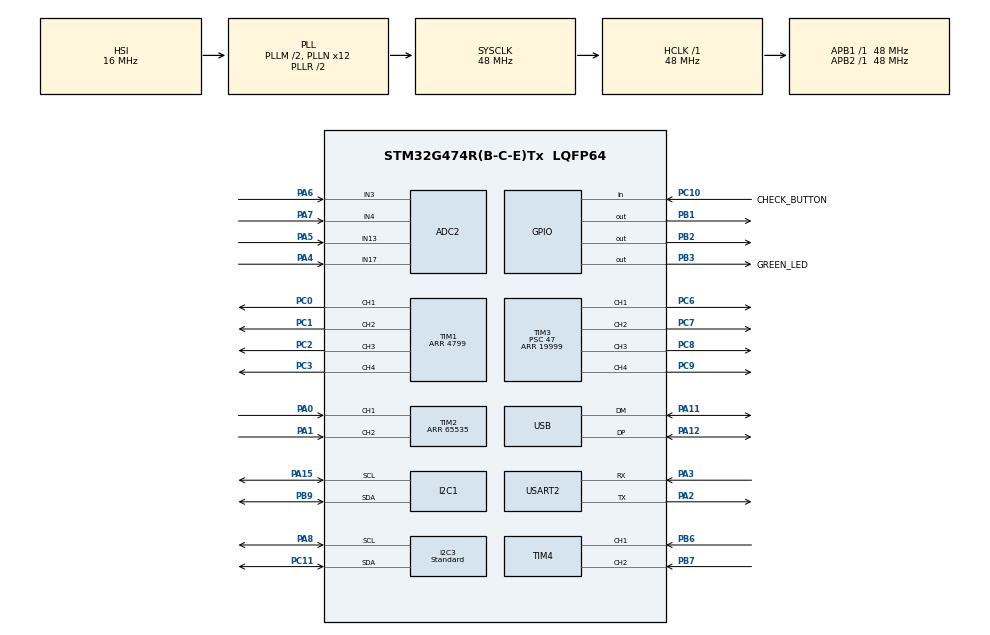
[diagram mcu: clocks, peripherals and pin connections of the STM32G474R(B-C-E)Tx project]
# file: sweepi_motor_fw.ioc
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ADC2.Channel-0\#ChannelRegularConversion=ADC_CHANNEL_17
ADC2.NbrOfConversionFlag=1
ADC2.OffsetNumber-0\#ChannelRegularConversion=ADC_OFFSET_NONE
ADC2.Rank-0\#ChannelRegularConversion=1
ADC2.SamplingTime-0\#ChannelRegularConversion=ADC_SAMPLETIME_2CYCLES_5
I2C1.Timing=0x10805D88
I2C3.I2C_Speed_Mode=I2C_Standard
I2C3.Timing=0x10805D88
Mcu.Family=STM32G4
Mcu.Name=STM32G474R(B-C-E)Tx
Mcu.Package=LQFP64
NVIC.PriorityGroup=NVIC_PRIORITYGROUP_4
NVIC.USART2_IRQn=true\:0\:0\:false\:false\:true\:true\:true\:true
NVIC.USB_LP_IRQn=true\:0\:0\:false\:false\:true\:false\:true\:true
PA0.Signal=S_TIM2_CH1
PA1.Signal=S_TIM2_CH2
PA11.Mode=Device
PA11.Signal=USB_DM
PA12.Mode=Device
PA12.Signal=USB_DP
PA13.Mode=Serial_Wire
PA13.Signal=SYS_JTMS-SWDIO
PA14.Mode=Serial_Wire
PA14.Signal=SYS_JTCK-SWCLK
PA15.Mode=I2C
PA15.Signal=I2C1_SCL
PA2.Mode=Asynchronous
PA2.Signal=USART2_TX
PA3.Mode=Asynchronous
PA3.Signal=USART2_RX
PA4.Mode=IN17-Single-Ended
PA4.Signal=ADC2_IN17
PA5.Mode=IN13-Single-Ended
PA5.Signal=ADC2_IN13
PA6.Mode=IN3-Single-Ended
PA6.Signal=ADC2_IN3
PA7.Mode=IN4-Single-Ended
PA7.Signal=ADC2_IN4
PA8.Mode=I2C
PA8.Signal=I2C3_SCL
PB1.Signal=GPIO_Output
PB2.Signal=GPIO_Output
PB3.GPIO_Label=GREEN_LED
PB3.Signal=GPIO_Output
PB6.Signal=S_TIM4_CH1
PB7.Signal=S_TIM4_CH2
PB9.Mode=I2C
PB9.Signal=I2C1_SDA
PC0.Signal=S_TIM1_CH1
PC1.Signal=S_TIM1_CH2
PC10.GPIO_Label=CHECK_BUTTON
PC10.Signal=GPIO_Input
PC11.Mode=I2C
PC11.Signal=I2C3_SDA
PC2.Signal=S_TIM1_CH3
PC3.Signal=S_TIM1_CH4
PC6.Signal=S_TIM3_CH1
PC7.Signal=S_TIM3_CH2
PC8.Signal=S_TIM3_CH3
PC9.Signal=S_TIM3_CH4
ProjectManager.HeapSize=0x200
ProjectManager.StackSize=0x400
ProjectManager.TargetToolchain=CMake
RCC.ADC12Freq_Value=48000000
RCC.ADC345Freq_Value=48000000
RCC.AHBFreq_Value=48000000
RCC.APB1Freq_Value=48000000
RCC.APB1TimFreq_Value=48000000
RCC.APB2Freq_Value=48000000
RCC.APB2TimFreq_Value=48000000
RCC.CortexFreq_Value=48000000
RCC.EXTERNAL_CLOCK_VALUE=12288000
RCC.HCLKFreq_Value=48000000
RCC.HSE_VALUE=24000000
RCC.HSI48_VALUE=48000000
RCC.HSI_VALUE=16000000
RCC.LSE_VALUE=32768
RCC.PLLM=RCC_PLLM_DIV2
RCC.PLLN=12
RCC.SYSCLKFreq_VALUE=48000000
RCC.SYSCLKSource=RCC_SYSCLKSOURCE_PLLCLK
RCC.USBFreq_Value=48000000
RCC.VCOOutputFreq_Value=96000000
SH.S_TIM1_CH1.0=TIM1_CH1,PWM Generation1 CH1
SH.S_TIM1_CH2.0=TIM1_CH2,PWM Generation2 CH2
SH.S_TIM1_CH3.0=TIM1_CH3,PWM Generation3 CH3
SH.S_TIM1_CH4.0=TIM1_CH4,PWM Generation4 CH4
SH.S_TIM2_CH1.0=TIM2_CH1,Encoder_Interface
SH.S_TIM2_CH2.0=TIM2_CH2,Encoder_Interface
SH.S_TIM3_CH1.0=TIM3_CH1,PWM Generation1 CH1
SH.S_TIM3_CH2.0=TIM3_CH2,PWM Generation2 CH2
SH.S_TIM3_CH3.0=TIM3_CH3,PWM Generation3 CH3
SH.S_TIM3_CH4.0=TIM3_CH4,PWM Generation4 CH4
SH.S_TIM4_CH1.0=TIM4_CH1,Encoder_Interface
SH.S_TIM4_CH2.0=TIM4_CH2,Encoder_Interface
TIM1.Channel-PWM\ Generation1\ CH1=TIM_CHANNEL_1
TIM1.Channel-PWM\ Generation2\ CH2=TIM_CHANNEL_2
TIM1.Channel-PWM\ Generation3\ CH3=TIM_CHANNEL_3
TIM1.Channel-PWM\ Generation4\ CH4=TIM_CHANNEL_4
TIM1.PeriodNoDither=4799
TIM2.EncoderMode=TIM_ENCODERMODE_TI12
TIM2.PeriodNoDither=65535
TIM3.Channel-PWM\ Generation1\ CH1=TIM_CHANNEL_1
TIM3.Channel-PWM\ Generation2\ CH2=TIM_CHANNEL_2
TIM3.Channel-PWM\ Generation3\ CH3=TIM_CHANNEL_3
TIM3.Channel-PWM\ Generation4\ CH4=TIM_CHANNEL_4
TIM3.PeriodNoDither=19999
TIM3.Prescaler=47
TIM4.EncoderMode=TIM_ENCODERMODE_TI12
USART2.VirtualMode-Asynchronous=VM_ASYNC
USB_DEVICE.CLASS_NAME_FS=CDC
USB_DEVICE.VirtualMode=Cdc
USB_DEVICE.VirtualModeFS=Cdc_FS
VP_SYS_VS_DBSignals.Mode=DisableDeadBatterySignals
VP_USB_DEVICE_VS_USB_DEVICE_CDC_FS.Mode=CDC_FS
board=custom

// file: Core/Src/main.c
/* USER CODE BEGIN Header */
/**
  ******************************************************************************
  * @file           : main.c
  * @brief          : Main program body
  ******************************************************************************
  * @attention
  *
  * Copyright (c) 2026 STMicroelectronics.
  * All rights reserved.
  *
  * This software is licensed under terms that can be found in the LICENSE file
  * in the root directory of this software component.
  * If no LICENSE file comes with this software, it is provided AS-IS.
  *
  ******************************************************************************
  */
/* USER CODE END Header */
#include "main.h"
#include "adc.h"
#include "i2c.h"
#include "tim.h"
#include "usart.h"
#include "usb_device.h"
#include "gpio.h"

/* USER CODE BEGIN Includes */
#include <string.h>
#include <stdio.h>
#include <math.h>

/* USER CODE END Includes */

/* USER CODE BEGIN PD */
#define PI 3.14159265f
#define WHEEL_RADIUS_M 0.03075f // assume 3.075cm radius wheels, adjust as necessary
#define WHEEL_BASE_M 0.29f // assume 29cm distance between wheels, adjust as necessary
#define MOTOR_TEST_ENABLE 0
#define MOTOR_TEST_LEFT_RPM 15.0f
#define MOTOR_TEST_RIGHT_RPM 15.0f
#define LEFT_ENCODER_SIGN -1
#define RIGHT_ENCODER_SIGN 1
#define ENCODER_TICKS_PER_REV 7392.0f
#define PWM_MAX_COUNT 4799.0f
#define CONTROL_LOOP_MS 20U
#define CONTROL_LOOP_SEC ((float)CONTROL_LOOP_MS / 1000.0f)
#define COMMAND_TIMEOUT_MS 500U
#define GYRO_DPS_TO_RAD_PER_SEC (PI / 180.0f)
#define MPU6050_REG_SMPLRT_DIV 0x19U
#define MPU6050_REG_CONFIG 0x1AU
#define MPU6050_REG_GYRO_CONFIG 0x1BU
#define MPU6050_REG_ACCEL_CONFIG 0x1CU
#define MPU6050_REG_INT_ENABLE 0x38U
#define MPU6050_REG_PWR_MGMT_1 0x6BU
#define IMU_CALIBRATION_SAMPLES 1000U
#define IMU_STATIONARY_GYRO_RAD_S 0.035f
#define IMU_STATIONARY_ACCEL_MIN 8.8f
#define IMU_STATIONARY_ACCEL_MAX 10.8f
#define IMU_Z_BIAS_ADAPT_ALPHA 0.001f
#define LEFT_SERVO_CHANNEL TIM_CHANNEL_1
#define RIGHT_SERVO_CHANNEL TIM_CHANNEL_3
#define SERVO_NEUTRAL_US 1500U
#define SERVO_LEFT_RELEASE_US 1650U
#define SERVO_LEFT_TIGHTEN_US 1350U
#define SERVO_RIGHT_RELEASE_US 1650U
#define SERVO_RIGHT_TIGHTEN_US 1350U
#define SERVO_STEP_US 10U     // Step size in microseconds for each control loop iteration
#define SERVO_HOLD_MS 300U   // Hold time in milliseconds at each extreme position
#define SERVO_CYCLES 3U      // Number of complete left-right cycles to perform when triggered
/* USER CODE END PD */

/* USER CODE BEGIN PV */
uint8_t mpu6050_address = 0;
uint8_t mpu6050_ready = 0;

// --- IMU RAW VARIABLES ---
int16_t raw_acc_x = 0, raw_acc_y = 0, raw_acc_z = 0;
int16_t raw_gyro_x = 0, raw_gyro_y = 0, raw_gyro_z = 0;

// --- IMU CALIBRATION VARIABLES (Gyros Only!) ---
float gyro_x_offset = 0.0f, gyro_y_offset = 0.0f, gyro_z_offset = 0.0f;
float gyro_z_runtime_bias = 0.0f;

// --- ASCII COMMUNICATION PROTOCOL ---
char rx_line_buffer[128]; // Holds the incoming string
volatile uint8_t rx_byte;          // Holds a single character
volatile uint8_t rx_index = 0;
volatile uint8_t new_cmd_ready = 0;
char tx_buffer[256];      // Holds the outgoing FB string

// Command Variables from Pi
uint32_t cmd_seq = 0;
uint32_t fb_seq = 0;
uint32_t last_valid_cmd_ms = 0;
float cmd_left_vel = 0.0f;
float cmd_right_vel = 0.0f;
uint8_t motor_enable = 0;

// --- ENCODERS ---
uint16_t current_ticks_L = 0, previous_ticks_L = 0;
int16_t tick_diff_L = 0;
float current_rpm_L = 0.0f;

uint16_t current_ticks_R = 0, previous_ticks_R = 0;
int16_t tick_diff_R = 0;
float current_rpm_R = 0.0f;

// --- PID CONTROLLERS ---
typedef struct {
    float Kp; float Ki; float Kd;
    float setpoint; float integral; float prev_error;
} PID_Controller;

typedef enum {
    SERVO_IDLE = 0,
    SERVO_MOVE_LEFT,
    SERVO_HOLD_LEFT,
    SERVO_CENTER_AFTER_LEFT,
    SERVO_HOLD_CENTER_AFTER_LEFT,
    SERVO_MOVE_RIGHT,
    SERVO_HOLD_RIGHT,
    SERVO_CENTER_AFTER_RIGHT,
    SERVO_HOLD_CENTER_AFTER_RIGHT
} TubeServoState;

PID_Controller leftPID  = {25.0f, 0.5f, 0.0f, 0.0f, 0.0f, 0.0f};
PID_Controller rightPID = {25.0f, 0.5f, 0.0f, 0.0f, 0.0f, 0.0f};

float current_pwm_L = 0.0f;
float current_pwm_R = 0.0f;

uint32_t left_servo_pulse = SERVO_NEUTRAL_US;
uint32_t right_servo_pulse = SERVO_NEUTRAL_US;
TubeServoState tube_servo_state = SERVO_IDLE;
uint8_t tube_servo_cycle_count = 0;
uint32_t tube_servo_hold_start_ms = 0;
uint8_t tube_trigger_latched = 0;
/* USER CODE END PV */

void SystemClock_Config(void);
/* USER CODE BEGIN PFP */
float PID_Compute(PID_Controller *pid, float current_rpm, float dt_sec);
void UInt64ToDec(uint64_t value, char *buffer, size_t buffer_size);
void TubeServo_Set(uint32_t left_pulse, uint32_t right_pulse);
uint32_t TubeServo_StepToward(uint32_t current, uint32_t target);
uint8_t TubeServo_MoveToward(uint32_t target_left, uint32_t target_right);
void TubeServo_StartCycle(void);
void TubeServo_Update(uint32_t now_ms);
uint8_t ModeEquals(const char *mode, const char *expected);
/* USER CODE END PFP */

int main(void)
{

  /* MCU Configuration--------------------------------------------------------*/

  /* Reset of all peripherals, Initializes the Flash interface and the Systick. */
  HAL_Init();

  /* Configure the system clock */
  SystemClock_Config();

  /* Initialize all configured peripherals */
  MX_GPIO_Init();
  MX_I2C1_Init();
  MX_I2C3_Init();
  MX_TIM1_Init();
  MX_TIM2_Init();
  MX_TIM3_Init();
  MX_TIM4_Init();
  MX_USART2_UART_Init();
  MX_USB_Device_Init();
  MX_ADC2_Init();

  /* USER CODE BEGIN 2 */
  // --- Left Motor PWM (Channels 3 & 4) ---
  __HAL_TIM_SET_COMPARE(&htim1, TIM_CHANNEL_3, 0);
  __HAL_TIM_SET_COMPARE(&htim1, TIM_CHANNEL_4, 0);
  HAL_TIM_PWM_Start(&htim1, TIM_CHANNEL_3);
  HAL_TIM_PWM_Start(&htim1, TIM_CHANNEL_4);

  // --- Right Motor PWM (Channels 1 & 2) ---
  __HAL_TIM_SET_COMPARE(&htim1, TIM_CHANNEL_1, 0);
  __HAL_TIM_SET_COMPARE(&htim1, TIM_CHANNEL_2, 0);
  HAL_TIM_PWM_Start(&htim1, TIM_CHANNEL_1);
  HAL_TIM_PWM_Start(&htim1, TIM_CHANNEL_2);

  // --- Tube servos on TIM3 (PC6 = left, PC8 = right) ---
  TubeServo_Set(SERVO_NEUTRAL_US, SERVO_NEUTRAL_US);
  HAL_TIM_PWM_Start(&htim3, LEFT_SERVO_CHANNEL);
  HAL_TIM_PWM_Start(&htim3, RIGHT_SERVO_CHANNEL);

  // Enable Master Output and the Motor Driver Chip
  __HAL_TIM_MOE_ENABLE(&htim1);
  HAL_GPIO_WritePin(GPIOB, GPIO_PIN_1|GPIO_PIN_2, GPIO_PIN_SET);

  // --- Start Both Hardware Encoders ---
  HAL_TIM_Encoder_Start(&htim2, TIM_CHANNEL_ALL); // Left
  HAL_TIM_Encoder_Start(&htim4, TIM_CHANNEL_ALL); // Right

  // Start listening on USART2 for the first character
  HAL_UART_Receive_IT(&huart2, (uint8_t *)&rx_byte, 1);

  // Standalone power-up marker for serial/debug checks.
  HAL_UART_Transmit(&huart2, (uint8_t *)"BOOT\r\n", 6, 100);

  // --- Step 1: I2C Sanity Check Scanner ---
  HAL_StatusTypeDef result;

  for (uint8_t i = 1; i < 128; i++)
  {
      result = HAL_I2C_IsDeviceReady(&hi2c3, (uint16_t)(i << 1), 2, 10);

      if (result == HAL_OK)
      {
          if ((i == 0x68) || (i == 0x69))
          {
              mpu6050_address = i;
              break;
          }
      }
  }

  // --- Step 2: Wake and configure the MPU6050 ---
  if (mpu6050_address != 0)
  {
      uint8_t data = 0x00;
      if (HAL_I2C_Mem_Write(&hi2c3, (uint16_t)(mpu6050_address << 1), MPU6050_REG_PWR_MGMT_1, 1, &data, 1, 10) == HAL_OK)
      {
          HAL_Delay(100);

          data = 0x07; // 125 Hz sample rate when DLPF is enabled.
          if (HAL_I2C_Mem_Write(&hi2c3, (uint16_t)(mpu6050_address << 1), MPU6050_REG_SMPLRT_DIV, 1, &data, 1, 10) == HAL_OK)
          {
              data = 0x03; // DLPF enabled, about 44 Hz gyro bandwidth.
              if (HAL_I2C_Mem_Write(&hi2c3, (uint16_t)(mpu6050_address << 1), MPU6050_REG_CONFIG, 1, &data, 1, 10) == HAL_OK)
              {
                  data = 0x00; // Gyro +/-250 deg/s -> 131 LSB/(deg/s).
                  if (HAL_I2C_Mem_Write(&hi2c3, (uint16_t)(mpu6050_address << 1), MPU6050_REG_GYRO_CONFIG, 1, &data, 1, 10) == HAL_OK)
                  {
                      data = 0x00; // Accel +/-2 g -> 16384 LSB/g.
                      if (HAL_I2C_Mem_Write(&hi2c3, (uint16_t)(mpu6050_address << 1), MPU6050_REG_ACCEL_CONFIG, 1, &data, 1, 10) == HAL_OK)
                      {
                          data = 0x00; // Interrupt output disabled; STM32 polls over I2C.
                          if (HAL_I2C_Mem_Write(&hi2c3, (uint16_t)(mpu6050_address << 1), MPU6050_REG_INT_ENABLE, 1, &data, 1, 10) == HAL_OK)
                          {
                              mpu6050_ready = 1;
                          }
                      }
                  }
              }
          }
      }
  }

  // --- Step 3: Let the configured MPU settle, then calibrate gyroscopes ---
  // DO NOT MOVE THE ROBOT DURING THIS WINDOW.
  if (mpu6050_ready == 1)
  {
      int64_t sum_gx = 0, sum_gy = 0, sum_gz = 0;
      uint8_t calib_buf[6];

      HAL_Delay(500);

      for (uint16_t i = 0; i < IMU_CALIBRATION_SAMPLES; i++)
      {
          // Register 0x43 is where the Gyro data starts
          if (HAL_I2C_Mem_Read(&hi2c3, (uint16_t)(mpu6050_address << 1), 0x43, 1, calib_buf, 6, 10) == HAL_OK)
          {
              sum_gx += (int16_t)((calib_buf[0] << 8) | calib_buf[1]);
              sum_gy += (int16_t)((calib_buf[2] << 8) | calib_buf[3]);
              sum_gz += (int16_t)((calib_buf[4] << 8) | calib_buf[5]);
          }
          HAL_Delay(2);
      }

      // Calculate the average offsets
      gyro_x_offset = (float)sum_gx / (float)IMU_CALIBRATION_SAMPLES;
      gyro_y_offset = (float)sum_gy / (float)IMU_CALIBRATION_SAMPLES;
      gyro_z_offset = (float)sum_gz / (float)IMU_CALIBRATION_SAMPLES;
      gyro_z_runtime_bias = 0.0f;
  }

  // --- Manual motor test mode ---
  // Change MOTOR_TEST_LEFT_RPM / MOTOR_TEST_RIGHT_RPM above for bench testing.
  // The CHECK_BUTTON safety switch must still be pressed for PWM output.
  if (MOTOR_TEST_ENABLE != 0)
  {
      motor_enable = 1;
      leftPID.setpoint = MOTOR_TEST_LEFT_RPM;
      rightPID.setpoint = MOTOR_TEST_RIGHT_RPM;
  }

  /* USER CODE END 2 */

  /* Infinite loop */
  /* USER CODE BEGIN WHILE */
  while (1)
  {
    static uint32_t last_loop_start_ms = 0U;
    uint32_t loop_start_ms = HAL_GetTick();
    float dt_sec = CONTROL_LOOP_SEC;

    if (last_loop_start_ms != 0U)
    {
        uint32_t dt_ms = loop_start_ms - last_loop_start_ms;
        if ((dt_ms > 0U) && (dt_ms <= COMMAND_TIMEOUT_MS))
        {
            dt_sec = (float)dt_ms / 1000.0f;
        }
    }
    last_loop_start_ms = loop_start_ms;

    // --- 0. ASCII PROTOCOL PARSER (Pi -> STM32 over USART2) ---
#if MOTOR_TEST_ENABLE == 0
    if (new_cmd_ready != 0)
    {
        unsigned long parsed_seq = 0;
        unsigned long parsed_time_ms = 0;
        float parsed_left_vel = 0.0f;
        float parsed_right_vel = 0.0f;
        unsigned int parsed_motor_enable = 0;
        unsigned int parsed_suction_enable = 0;
        unsigned int parsed_brush_enable = 0;
        char mode[16] = {0};

        if (sscanf(rx_line_buffer,
                   "CMD,%lu,%lu,%f,%f,%u,%u,%u,%15[^,\r\n]",
                   &parsed_seq,
                   &parsed_time_ms,
                   &parsed_left_vel,
                   &parsed_right_vel,
                   &parsed_motor_enable,
                   &parsed_suction_enable,
                   &parsed_brush_enable,
                   mode) >= 5)
        {
            cmd_seq = (uint32_t)parsed_seq;
            cmd_left_vel = parsed_left_vel;
            cmd_right_vel = parsed_right_vel;
            motor_enable = (parsed_motor_enable != 0U) ? 1U : 0U;
            last_valid_cmd_ms = HAL_GetTick();

            // Pi sends wheel linear velocity in m/s. PID setpoint is wheel RPM.
            leftPID.setpoint = (cmd_left_vel * 60.0f) / (2.0f * PI * WHEEL_RADIUS_M);
            rightPID.setpoint = (cmd_right_vel * 60.0f) / (2.0f * PI * WHEEL_RADIUS_M);

            if (ModeEquals(mode, "HIGH") || ModeEquals(mode, "TUBE"))
            {
                if (tube_trigger_latched == 0U)
                {
                    TubeServo_StartCycle();
                    tube_trigger_latched = 1U;
                }
            }
            else
            {
                tube_trigger_latched = 0U;
            }
        }

        new_cmd_ready = 0;
    }
#else
    if (new_cmd_ready != 0)
    {
        new_cmd_ready = 0;
    }
#endif

#if MOTOR_TEST_ENABLE == 0
    if ((motor_enable != 0U) && ((HAL_GetTick() - last_valid_cmd_ms) > COMMAND_TIMEOUT_MS))
    {
        motor_enable = 0U;
        leftPID.setpoint = 0.0f;
        rightPID.setpoint = 0.0f;
    }
#endif

    TubeServo_Update(loop_start_ms);

    // --- 1. Read All 6 MPU6050 Axes ---
    uint8_t i2c_buf[14];

    // Read 14 bytes starting from register 0x3B (ACCEL_XOUT_H)
    if ((mpu6050_ready != 0) && (HAL_I2C_Mem_Read(&hi2c3, (uint16_t)(mpu6050_address << 1), 0x3B, 1, i2c_buf, 14, 10) == HAL_OK))
    {
        // Accel Data
        raw_acc_x = (int16_t)((i2c_buf[0] << 8) | i2c_buf[1]);
        raw_acc_y = (int16_t)((i2c_buf[2] << 8) | i2c_buf[3]);
        raw_acc_z = (int16_t)((i2c_buf[4] << 8) | i2c_buf[5]);

        // i2c_buf[6] and [7] are the Temperature sensor (Ignored)

        // Gyro Data
        raw_gyro_x = (int16_t)((i2c_buf[8] << 8)  | i2c_buf[9]);
        raw_gyro_y = (int16_t)((i2c_buf[10] << 8) | i2c_buf[11]);
        raw_gyro_z = (int16_t)((i2c_buf[12] << 8) | i2c_buf[13]);
    }

    // --- 2. Read Hardware Timers & Deltas ---
    current_ticks_L = __HAL_TIM_GET_COUNTER(&htim2);
    current_ticks_R = __HAL_TIM_GET_COUNTER(&htim4);

    tick_diff_L = (int16_t)(LEFT_ENCODER_SIGN * (int16_t)(current_ticks_L - previous_ticks_L));
    previous_ticks_L = current_ticks_L;

    tick_diff_R = (int16_t)(RIGHT_ENCODER_SIGN * (int16_t)(current_ticks_R - previous_ticks_R));
    previous_ticks_R = current_ticks_R;

    current_rpm_L = ((float)tick_diff_L * 60.0f) / (ENCODER_TICKS_PER_REV * dt_sec);
    current_rpm_R = ((float)tick_diff_R * 60.0f) / (ENCODER_TICKS_PER_REV * dt_sec);

    // --- 3. SAFETY SWITCH & PID LOGIC ---
    // Change this line to look for SET instead of RESET!
    if (motor_enable == 1)
    {
	        current_pwm_L += PID_Compute(&leftPID, current_rpm_L, dt_sec);
	        if (current_pwm_L > PWM_MAX_COUNT) current_pwm_L = PWM_MAX_COUNT;
	        if (current_pwm_L < -PWM_MAX_COUNT) current_pwm_L = -PWM_MAX_COUNT;

	        if (current_pwm_L >= 0.0f)
	        {
	            __HAL_TIM_SET_COMPARE(&htim1, TIM_CHANNEL_3, (uint32_t)current_pwm_L);
	            __HAL_TIM_SET_COMPARE(&htim1, TIM_CHANNEL_4, 0);
	        }
	        else
	        {
	            __HAL_TIM_SET_COMPARE(&htim1, TIM_CHANNEL_3, 0);
	            __HAL_TIM_SET_COMPARE(&htim1, TIM_CHANNEL_4, (uint32_t)(-current_pwm_L));
	        }

	        current_pwm_R += PID_Compute(&rightPID, current_rpm_R, dt_sec);
	        if (current_pwm_R > PWM_MAX_COUNT) current_pwm_R = PWM_MAX_COUNT;
	        if (current_pwm_R < -PWM_MAX_COUNT) current_pwm_R = -PWM_MAX_COUNT;

	        if (current_pwm_R >= 0.0f)
	        {
	            __HAL_TIM_SET_COMPARE(&htim1, TIM_CHANNEL_1, (uint32_t)current_pwm_R);
	            __HAL_TIM_SET_COMPARE(&htim1, TIM_CHANNEL_2, 0);
	        }
	        else
	        {
	            __HAL_TIM_SET_COMPARE(&htim1, TIM_CHANNEL_1, 0);
	            __HAL_TIM_SET_COMPARE(&htim1, TIM_CHANNEL_2, (uint32_t)(-current_pwm_R));
	        }
    }
    else
    {
        __HAL_TIM_SET_COMPARE(&htim1, TIM_CHANNEL_1, 0);
        __HAL_TIM_SET_COMPARE(&htim1, TIM_CHANNEL_2, 0);
        __HAL_TIM_SET_COMPARE(&htim1, TIM_CHANNEL_3, 0);
        __HAL_TIM_SET_COMPARE(&htim1, TIM_CHANNEL_4, 0);
        current_pwm_L = 0.0f; leftPID.integral = 0.0f; leftPID.prev_error = 0.0f;
        current_pwm_R = 0.0f; rightPID.integral = 0.0f; rightPID.prev_error = 0.0f;
    }

    // --- 4. ASCII PROTOCOL FEEDBACK (Pi Telemetry) ---

    // Apply gyro offsets and convert to rad/s.
    float gx = (((float)raw_gyro_x - gyro_x_offset) / 131.0f) * GYRO_DPS_TO_RAD_PER_SEC;
    float gy = (((float)raw_gyro_y - gyro_y_offset) / 131.0f) * GYRO_DPS_TO_RAD_PER_SEC;
    float gz = (((float)raw_gyro_z - gyro_z_offset) / 131.0f) * GYRO_DPS_TO_RAD_PER_SEC;

    // Convert Accel to m/s^2 (Standard config is +/- 2g -> /16384.0, then * 9.81 gravity)
    float ax = ((float)raw_acc_x / 16384.0f) * 9.81f;
    float ay = ((float)raw_acc_y / 16384.0f) * 9.81f;
    float az = ((float)raw_acc_z / 16384.0f) * 9.81f;

    float accel_mag = sqrtf((ax * ax) + (ay * ay) + (az * az));
    uint8_t imu_stationary = ((fabsf(gx) < IMU_STATIONARY_GYRO_RAD_S) &&
                              (fabsf(gy) < IMU_STATIONARY_GYRO_RAD_S) &&
                              (fabsf(gz) < IMU_STATIONARY_GYRO_RAD_S) &&
                              (accel_mag > IMU_STATIONARY_ACCEL_MIN) &&
                              (accel_mag < IMU_STATIONARY_ACCEL_MAX)) ? 1U : 0U;

    if (imu_stationary != 0U)
    {
        gyro_z_runtime_bias = ((1.0f - IMU_Z_BIAS_ADAPT_ALPHA) * gyro_z_runtime_bias) +
                              (IMU_Z_BIAS_ADAPT_ALPHA * gz);
        gz = 0.0f;
    }
    else
    {
        gz -= gyro_z_runtime_bias;
    }

    uint32_t fb_seq_out = fb_seq;
    uint64_t stm_time_us = ((uint64_t)HAL_GetTick()) * 1000ULL;
    char stm_time_us_text[21];

    fb_seq = (fb_seq + 1U) % 1000000U;
    UInt64ToDec(stm_time_us, stm_time_us_text, sizeof(stm_time_us_text));

    snprintf(tx_buffer, sizeof(tx_buffer),
             "FB,%lu,%s,%d,%d,%.4f,%.4f,%.4f,%.4f,%.4f,%.4f,12.0,0,OK\r\n",
             (unsigned long)fb_seq_out,
             stm_time_us_text,
             tick_diff_L,
             tick_diff_R,
             gx,
             gy,
             gz,
             ax,
             ay,
             az);
    if (huart2.gState == HAL_UART_STATE_READY)
    {
        HAL_UART_Transmit_IT(&huart2, (uint8_t*)tx_buffer, strlen(tx_buffer));
    }

    // --- 5. Keep the full loop close to 50 Hz, compensating for work time ---
    uint32_t elapsed_ms = HAL_GetTick() - loop_start_ms;
    if (elapsed_ms < CONTROL_LOOP_MS)
    {
        HAL_Delay(CONTROL_LOOP_MS - elapsed_ms);
    }

    /* USER CODE END WHILE */

  }
}

void SystemClock_Config(void)
{
  RCC_OscInitTypeDef RCC_OscInitStruct = {0};
  RCC_ClkInitTypeDef RCC_ClkInitStruct = {0};

  /** Configure the main internal regulator output voltage
  */
  HAL_PWREx_ControlVoltageScaling(PWR_REGULATOR_VOLTAGE_SCALE1);

  /** Initializes the RCC Oscillators according to the specified parameters
  * in the RCC_OscInitTypeDef structure.
  */
  RCC_OscInitStruct.OscillatorType = RCC_OSCILLATORTYPE_HSI;
  RCC_OscInitStruct.HSIState = RCC_HSI_ON;
  RCC_OscInitStruct.HSICalibrationValue = RCC_HSICALIBRATION_DEFAULT;
  RCC_OscInitStruct.PLL.PLLState = RCC_PLL_ON;
  RCC_OscInitStruct.PLL.PLLSource = RCC_PLLSOURCE_HSI;
  RCC_OscInitStruct.PLL.PLLM = RCC_PLLM_DIV2;
  RCC_OscInitStruct.PLL.PLLN = 12;
  RCC_OscInitStruct.PLL.PLLP = RCC_PLLP_DIV2;
  RCC_OscInitStruct.PLL.PLLQ = RCC_PLLQ_DIV2;
  RCC_OscInitStruct.PLL.PLLR = RCC_PLLR_DIV2;
  if (HAL_RCC_OscConfig(&RCC_OscInitStruct) != HAL_OK)
  {
    Error_Handler();
  }

  /** Initializes the CPU, AHB and APB buses clocks
  */
  RCC_ClkInitStruct.ClockType = RCC_CLOCKTYPE_HCLK|RCC_CLOCKTYPE_SYSCLK
                              |RCC_CLOCKTYPE_PCLK1|RCC_CLOCKTYPE_PCLK2;
  RCC_ClkInitStruct.SYSCLKSource = RCC_SYSCLKSOURCE_PLLCLK;
  RCC_ClkInitStruct.AHBCLKDivider = RCC_SYSCLK_DIV1;
  RCC_ClkInitStruct.APB1CLKDivider = RCC_HCLK_DIV1;
  RCC_ClkInitStruct.APB2CLKDivider = RCC_HCLK_DIV1;

  if (HAL_RCC_ClockConfig(&RCC_ClkInitStruct, FLASH_LATENCY_1) != HAL_OK)
  {
    Error_Handler();
  }
}

/* USER CODE BEGIN 4 */
void TubeServo_Set(uint32_t left_pulse, uint32_t right_pulse)
{
    left_servo_pulse = left_pulse;
    right_servo_pulse = right_pulse;
    __HAL_TIM_SET_COMPARE(&htim3, LEFT_SERVO_CHANNEL, left_servo_pulse);
    __HAL_TIM_SET_COMPARE(&htim3, RIGHT_SERVO_CHANNEL, right_servo_pulse);
}

uint32_t TubeServo_StepToward(uint32_t current, uint32_t target)
{
    if (current < target)
    {
        current += SERVO_STEP_US;
        if (current > target)
        {
            current = target;
        }
    }
    else if (current > target)
    {
        if ((current - target) < SERVO_STEP_US)
        {
            current = target;
        }
        else
        {
            current -= SERVO_STEP_US;
        }
    }

    return current;
}

uint8_t TubeServo_MoveToward(uint32_t target_left, uint32_t target_right)
{
    uint32_t next_left = TubeServo_StepToward(left_servo_pulse, target_left);
    uint32_t next_right = TubeServo_StepToward(right_servo_pulse, target_right);

    TubeServo_Set(next_left, next_right);

    return ((left_servo_pulse == target_left) && (right_servo_pulse == target_right)) ? 1U : 0U;
}

void TubeServo_StartCycle(void)
{
    if (tube_servo_state == SERVO_IDLE)
    {
        tube_servo_cycle_count = 0U;
        tube_servo_state = SERVO_MOVE_LEFT;
    }
}

void TubeServo_Update(uint32_t now_ms)
{
    switch (tube_servo_state)
    {
        case SERVO_IDLE:
            break;

        case SERVO_MOVE_LEFT:
            if (TubeServo_MoveToward(SERVO_LEFT_RELEASE_US, SERVO_RIGHT_TIGHTEN_US) != 0U)
            {
                tube_servo_hold_start_ms = now_ms;
                tube_servo_state = SERVO_HOLD_LEFT;
            }
            break;

        case SERVO_HOLD_LEFT:
            if ((now_ms - tube_servo_hold_start_ms) >= SERVO_HOLD_MS)
            {
                tube_servo_state = SERVO_CENTER_AFTER_LEFT;
            }
            break;

        case SERVO_CENTER_AFTER_LEFT:
            if (TubeServo_MoveToward(SERVO_NEUTRAL_US, SERVO_NEUTRAL_US) != 0U)
            {
                tube_servo_hold_start_ms = now_ms;
                tube_servo_state = SERVO_HOLD_CENTER_AFTER_LEFT;
            }
            break;

        case SERVO_HOLD_CENTER_AFTER_LEFT:
            if ((now_ms - tube_servo_hold_start_ms) >= SERVO_HOLD_MS)
            {
                tube_servo_state = SERVO_MOVE_RIGHT;
            }
            break;

        case SERVO_MOVE_RIGHT:
            if (TubeServo_MoveToward(SERVO_LEFT_TIGHTEN_US, SERVO_RIGHT_RELEASE_US) != 0U)
            {
                tube_servo_hold_start_ms = now_ms;
                tube_servo_state = SERVO_HOLD_RIGHT;
            }
            break;

        case SERVO_HOLD_RIGHT:
            if ((now_ms - tube_servo_hold_start_ms) >= SERVO_HOLD_MS)
            {
                tube_servo_state = SERVO_CENTER_AFTER_RIGHT;
            }
            break;

        case SERVO_CENTER_AFTER_RIGHT:
            if (TubeServo_MoveToward(SERVO_NEUTRAL_US, SERVO_NEUTRAL_US) != 0U)
            {
                tube_servo_hold_start_ms = now_ms;
                tube_servo_state = SERVO_HOLD_CENTER_AFTER_RIGHT;
            }
            break;

        case SERVO_HOLD_CENTER_AFTER_RIGHT:
            if ((now_ms - tube_servo_hold_start_ms) >= SERVO_HOLD_MS)
            {
                tube_servo_cycle_count++;
                if (tube_servo_cycle_count >= SERVO_CYCLES)
                {
                    tube_servo_state = SERVO_IDLE;
                }
                else
                {
                    tube_servo_state = SERVO_MOVE_LEFT;
                }
            }
            break;

        default:
            tube_servo_state = SERVO_IDLE;
            TubeServo_Set(SERVO_NEUTRAL_US, SERVO_NEUTRAL_US);
            break;
    }
}

uint8_t ModeEquals(const char *mode, const char *expected)
{
    while ((*mode != '\0') && (*expected != '\0'))
    {
        char mode_char = *mode;
        char expected_char = *expected;

        if ((mode_char >= 'a') && (mode_char <= 'z'))
        {
            mode_char = (char)(mode_char - ('a' - 'A'));
        }

        if ((expected_char >= 'a') && (expected_char <= 'z'))
        {
            expected_char = (char)(expected_char - ('a' - 'A'));
        }

        if (mode_char != expected_char)
        {
            return 0U;
        }

        mode++;
        expected++;
    }

    return ((*mode == '\0') && (*expected == '\0')) ? 1U : 0U;
}

void UInt64ToDec(uint64_t value, char *buffer, size_t buffer_size)
{
    char reversed[20];
    size_t reversed_len = 0U;
    size_t out_len = 0U;

    if (buffer_size == 0U)
    {
        return;
    }

    if (value == 0ULL)
    {
        buffer[0] = '0';
        if (buffer_size > 1U)
        {
            buffer[1] = '\0';
        }
        return;
    }

    while ((value > 0ULL) && (reversed_len < sizeof(reversed)))
    {
        reversed[reversed_len++] = (char)('0' + (value % 10ULL));
        value /= 10ULL;
    }

    while ((reversed_len > 0U) && (out_len < (buffer_size - 1U)))
    {
        buffer[out_len++] = reversed[--reversed_len];
    }

    buffer[out_len] = '\0';
}

float PID_Compute(PID_Controller *pid, float current_rpm, float dt_sec) {
    float error = pid->setpoint - current_rpm;

    pid->integral += error * dt_sec;
    // Anti-Windup
    if (pid->integral > 100.0f) pid->integral = 100.0f;
    if (pid->integral < -100.0f) pid->integral = -100.0f;

    float derivative = (error - pid->prev_error) / dt_sec;
    pid->prev_error = error;

    return (pid->Kp * error) + (pid->Ki * pid->integral) + (pid->Kd * derivative);
}

// This triggers every time a single ASCII character arrives
void HAL_UART_RxCpltCallback(UART_HandleTypeDef *huart)
{
    if (huart->Instance == USART2)
    {
        // Leave the completed line untouched until the main loop parses it.
        if (new_cmd_ready != 0)
        {
            HAL_UART_Receive_IT(&huart2, (uint8_t *)&rx_byte, 1);
            return;
        }

        // If it's a newline, the string is finished!
        if (rx_byte == '\n' || rx_byte == '\r')
        {
            if (rx_index > 0)
            {
                rx_line_buffer[rx_index] = '\0'; // Add null terminator
                new_cmd_ready = 1;               // Flag the main loop to parse it
                rx_index = 0;                    // Reset for the next string
            }
        }
        else
        {
            // Otherwise, keep adding letters to the buffer
            if (rx_index < 127)
            {
                rx_line_buffer[rx_index++] = rx_byte;
            }
        }
        // Listen for the next single character
        HAL_UART_Receive_IT(&huart2, (uint8_t *)&rx_byte, 1);
    }
}
/* USER CODE END 4 */

void Error_Handler(void)
{
  __disable_irq();
  while (1)
  {
  }
}
